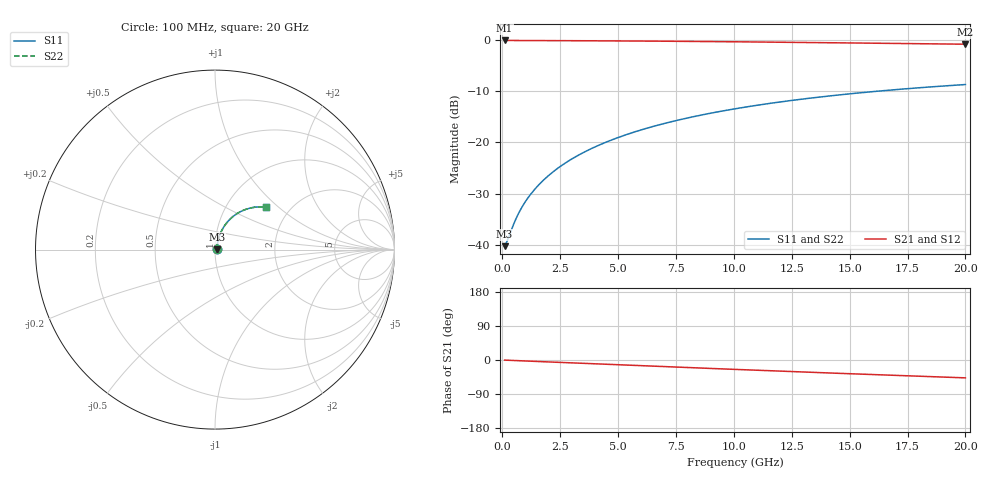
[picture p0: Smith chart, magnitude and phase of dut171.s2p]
! Touchstone file exported from HFSS 2026.1.0
!  File:  C:/ffzhzh/LocalFiles/Ansys_Project_Files/temp_train_TMRDL_171_1782983451_6248.aedt
!  Generated:  05:12:01 PM Jul  2, 2026
!  Design:  TMRDL
!  Project:  temp_train_TMRDL_171_1782983451_6248
! Variables:
!  h_bsmrdl = 2um
!  h_ox = 20um
!  h_rdl = 5um
!  h_sub = 80um
!  h_tmrdl = 2.14um
!  h_tsv = 80um
!  h_via = 3um
!  l_bsmrdl = 300um
!  l_sub = 1154.63um
!  l_tmrdl = 754.63um
!  m_sub = 200um
!  pitch = 25.53um
!  r_tsv = 6um
!  s_tmrdl = 10um
!  w_bsmrdl = 18um
!  w_sub = 500um
!  w_tmrdl = 13.39um
!  x_tsv_center1 = 761.325um
!  x_tsv_center2 = 1079.325um
!  x_tsv_center3 = 1847.345um
!  x_tsv_center4 = 2165.345um
!  x_tsv_center5 = 2933.365um
!  x_tsv_center6 = 3251.365um
# GHz S MA R 50.000000
! Terminal data exported
! Port[1] = TM_RDL1_1_T1
! Port[2] = TM_RDL1_1_T2
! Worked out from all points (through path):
!   200 points, 100 MHz to 20 GHz, reference 50 ohm
!   highest |S21| = -0.08 dB at 100 MHz (marker M1); lowest = -0.8 dB at 20 GHz (marker M2)
!   group delay of S21, straight-line fit = 6.55 ps
!   lowest |S11| = -40.3 dB at 100 MHz (marker M3), VSWR 1.02, Z = 50.9 + j0.26 ohm
!   |S11| at or under -10 dB: start of sweep to 16.18 GHz
!   |S22| runs from -40.3 to -8.7 dB; largest |S21 - S12| = 3.6e-15
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0.1  0.009702 15.2  0.9906 -0.3  0.9906 -0.3  0.009702 15.2
! Gamma 0 0 0 0
! Port Impedance 50 0 50 0
0.2  0.01077 28.1  0.9905 -0.5  0.9905 -0.5  0.01077 28.1
0.5  0.0161 50.1  0.9899 -1.3  0.9899 -1.3  0.0161 50.1
0.7  0.02022 56.9  0.9894 -1.9  0.9894 -1.9  0.02022 56.9
0.8  0.0223 59.2  0.9891 -2.1  0.9891 -2.1  0.0223 59.2
1  0.02648 62.6  0.9886 -2.6  0.9886 -2.6  0.02648 62.6
1.2  0.03066 65.1  0.9882 -3.1  0.9882 -3.1  0.03066 65.1
1.4  0.03485 66.9  0.9878 -3.6  0.9878 -3.6  0.03485 66.9
1.8  0.04328 69.3  0.9871 -4.6  0.9871 -4.6  0.04328 69.3
2.3  0.05391 71.0  0.9863 -5.9  0.9863 -5.9  0.05391 71.0
2.9  0.06675 71.8  0.9853 -7.3  0.9853 -7.3  0.06675 71.8
3.5  0.07962 71.9  0.9841 -8.8  0.9841 -8.8  0.07962 71.9
4.2  0.09461 71.5  0.9826 -10.6  0.9826 -10.6  0.09461 71.5
5  0.1116 70.6  0.9805 -12.6  0.9805 -12.6  0.1116 70.6
5.9  0.1305 69.2  0.9778 -14.8  0.9778 -14.8  0.1305 69.2
6.8  0.1492 67.6  0.9748 -17.0  0.9748 -17.0  0.1491 67.6
8.3  0.1794 64.7  0.9692 -20.6  0.9692 -20.6  0.1793 64.7
10.1  0.214 60.9  0.9614 -24.9  0.9614 -24.9  0.214 61.0
11.7  0.2432 57.5  0.9538 -28.7  0.9538 -28.7  0.2432 57.5
13.4  0.2725 53.9  0.9452 -32.6  0.9452 -32.6  0.2724 53.9
16.7  0.3238 46.8  0.9278 -40.0  0.9278 -40.0  0.3237 46.8
20  0.3676 39.9  0.9105 -47.1  0.9105 -47.1  0.3675 40.0
